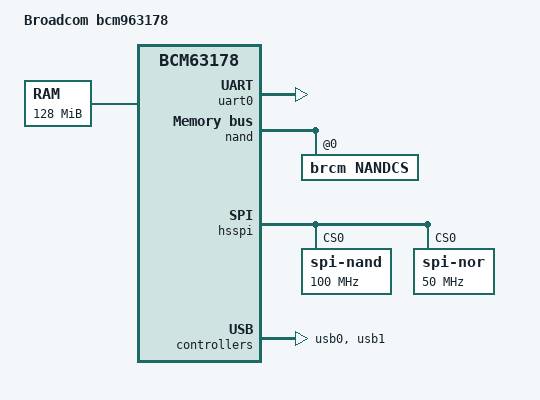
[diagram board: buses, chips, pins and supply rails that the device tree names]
// SPDX-License-Identifier: GPL-2.0+
/*
 * Copyright 2019 Broadcom Ltd.
 */

/dts-v1/;

#include "bcm63178.dtsi"

/ {
	model = "Broadcom bcm963178";
	compatible = "broadcom,bcm963178", "brcm,bcm963178";
	#address-cells = <0x1>;
	#size-cells = <0x1>;

	aliases {
		serial0 = &uart0;
		spi1 = &hsspi;
	};


	chosen {
		stdout-path = "serial0:115200n8";
	};

	memory {
		device_type = "memory";
		reg = <0x0 0x08000000>;
	};
};

&uart0 {
	status = "okay";
};

&nand {
	status = "okay";
	write-protect = <0>;
	#address-cells = <1>;
	#size-cells = <0>;

	nandcs@0 {
		compatible = "brcm,nandcs";
		reg = <0>;
	};
};

&hsspi {
	status = "okay";
	spi-nand {
		pinctrl-0 = <&spim_ss0_b_pin_79>;
		pinctrl-names = "default";	
		compatible = "spi-nand";
		reg = <0>;
		#address-cells = <1>;
		#size-cells = <0>;
		u-boot,dm-pre-reloc;				
		spi-max-frequency = <100000000>;
	};
	spi-nor@0 {
		pinctrl-0 = <&spim_ss0_b_pin_79>;
		pinctrl-names = "default";	
		compatible = "jedec,spi-nor";
		reg = <0>;
		#address-cells = <1>;
		#size-cells = <0>;
		spi-max-frequency = <50000000>;
		u-boot,dm-pre-reloc;
	};
};

&usb0 {
	status = "okay";
	pinctrl-0 = <&usb0_pwr_pins>;
	pinctrl-names="default";
};

&usb1 {
	status = "okay";
	pinctrl-0 = <&usb1_pwr_pins>;
	pinctrl-names="default";
};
